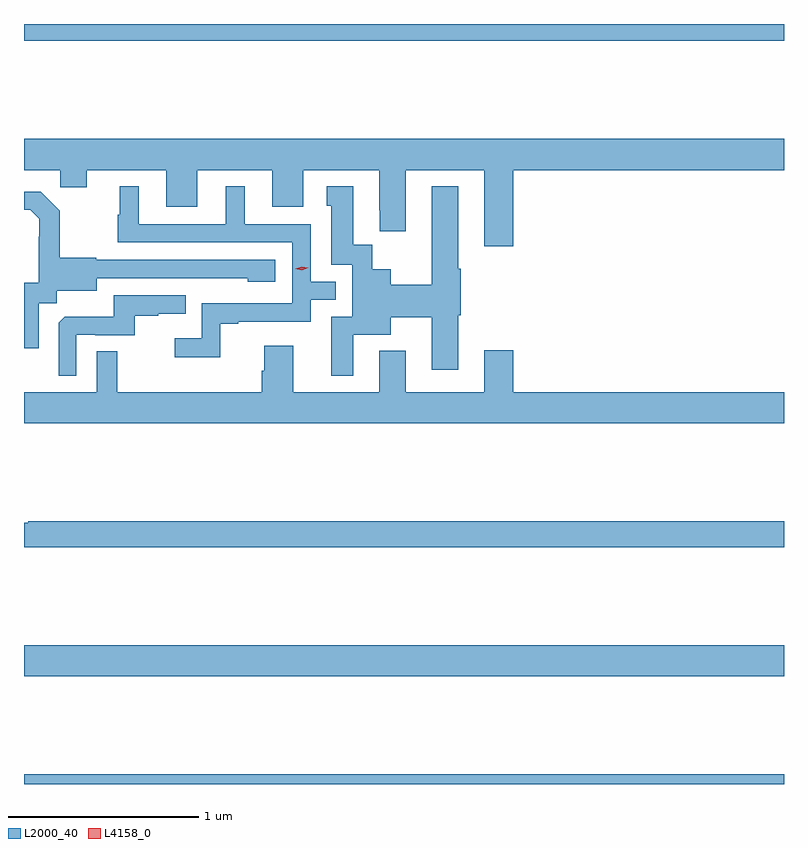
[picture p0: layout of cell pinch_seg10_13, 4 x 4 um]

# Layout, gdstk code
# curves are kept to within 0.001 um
import gdstk
lib = gdstk.Library(unit=1e-6, precision=1e-09)
def R(c, l, rs):  # rectangles x0, y0, x1, y1
    for r in rs: c.add(gdstk.rectangle(r[:2], r[2:], *l))
def P(c, l, *ps):  # polygons
    for p in ps: c.add(gdstk.Polygon(p, *l))
L2000_40 = (2000, 40)
L4158_0 = (4158, 0)

pinch_seg10_13 = lib.new_cell('pinch_seg10_13')
R(pinch_seg10_13, L2000_40, [(1004.509,1257.125,1008.509,1257.176), (1004.509,1257.692,1008.509,1257.856), (1004.509,1261.036,1008.509,1261.125)])
P(pinch_seg10_13, L2000_40, [(1007.084,1260.356),(1008.509,1260.356),(1008.509,1260.52),(1004.509,1260.52),(1004.509,1260.356),(1004.701,1260.356),(1004.701,1260.266),(1004.839,1260.266),(1004.839,1260.356),(1005.257,1260.356),(1005.257,1260.162),(1005.421,1260.162),(1005.421,1260.356),(1005.815,1260.356),(1005.815,1260.162),(1005.979,1260.162),(1005.979,1260.356),(1006.379,1260.356),(1006.379,1260.145),(1006.382,1260.145),(1006.382,1260.033),(1006.519,1260.033),(1006.519,1260.356),(1006.931,1260.356),(1006.931,1259.955),(1007.084,1259.955)],
  [(1006.243,1259.489),(1006.438,1259.489),(1006.438,1259.581),(1006.655,1259.581),(1006.655,1259.304),(1006.795,1259.304),(1006.795,1259.592),(1006.808,1259.592),(1006.808,1259.836),(1006.795,1259.836),(1006.795,1260.271),(1006.655,1260.271),(1006.655,1259.753),(1006.438,1259.753),(1006.438,1259.833),(1006.341,1259.833),(1006.341,1259.963),(1006.243,1259.963),(1006.243,1260.271),(1006.103,1260.271),(1006.103,1260.168),(1006.127,1260.168),(1006.127,1259.859),(1006.236,1259.859),(1006.236,1259.583),(1006.127,1259.583),(1006.127,1259.274),(1006.243,1259.274)],
  [(1005.543,1259.547),(1005.637,1259.547),(1005.637,1259.559),(1006.017,1259.559),(1006.017,1259.673),(1006.15,1259.673),(1006.15,1259.769),(1006.017,1259.769),(1006.017,1260.072),(1005.67,1260.072),(1005.67,1260.271),(1005.572,1260.271),(1005.572,1260.072),(1005.112,1260.072),(1005.112,1260.271),(1005.014,1260.271),(1005.014,1260.12),(1005.003,1260.12),(1005.003,1259.976),(1005.921,1259.976),(1005.921,1259.655),(1005.444,1259.655),(1005.444,1259.47),(1005.303,1259.47),(1005.303,1259.372),(1005.543,1259.372)],
  [(1004.587,1259.656),(1004.682,1259.656),(1004.682,1259.72),(1004.893,1259.72),(1004.893,1259.787),(1005.687,1259.786),(1005.687,1259.768),(1005.832,1259.768),(1005.832,1259.883),(1004.889,1259.883),(1004.889,1259.896),(1004.697,1259.896),(1004.697,1260.141),(1004.597,1260.241),(1004.509,1260.241),(1004.509,1260.147),(1004.541,1260.147),(1004.588,1260.1),(1004.588,1260.005),(1004.586,1260.005),(1004.586,1259.764),(1004.509,1259.764),(1004.509,1259.418),(1004.587,1259.418)],
  [(1004.784,1259.49),(1004.884,1259.49),(1004.884,1259.487),(1005.092,1259.487),(1005.092,1259.589),(1005.215,1259.589),(1005.215,1259.6),(1005.359,1259.6),(1005.359,1259.697),(1004.982,1259.697),(1004.982,1259.585),(1004.723,1259.585),(1004.691,1259.553),(1004.691,1259.273),(1004.784,1259.273)],
  [(1008.509,1259.188),(1007.084,1259.188),(1007.084,1259.407),(1006.931,1259.407),(1006.931,1259.188),(1006.519,1259.188),(1006.519,1259.404),(1006.379,1259.404),(1006.379,1259.188),(1005.925,1259.188),(1005.925,1259.431),(1005.773,1259.431),(1005.773,1259.301),(1005.761,1259.301),(1005.761,1259.188),(1005.001,1259.188),(1005.001,1259.402),(1004.892,1259.402),(1004.892,1259.188),(1004.509,1259.188),(1004.509,1259.024),(1008.509,1259.024)],
  [(1008.509,1258.508),(1004.531,1258.508),(1004.531,1258.501),(1004.509,1258.501),(1004.509,1258.372),(1008.509,1258.372)])
P(pinch_seg10_13, L4158_0, [(1005.972,1259.828),(1005.937,1259.836),(1005.937,1259.836),(1005.937,1259.836),(1005.97,1259.848),(1006.006,1259.841),(1006.006,1259.841),(1006.006,1259.841)])

lib.write_gds('pinch_seg10_13.gds')
